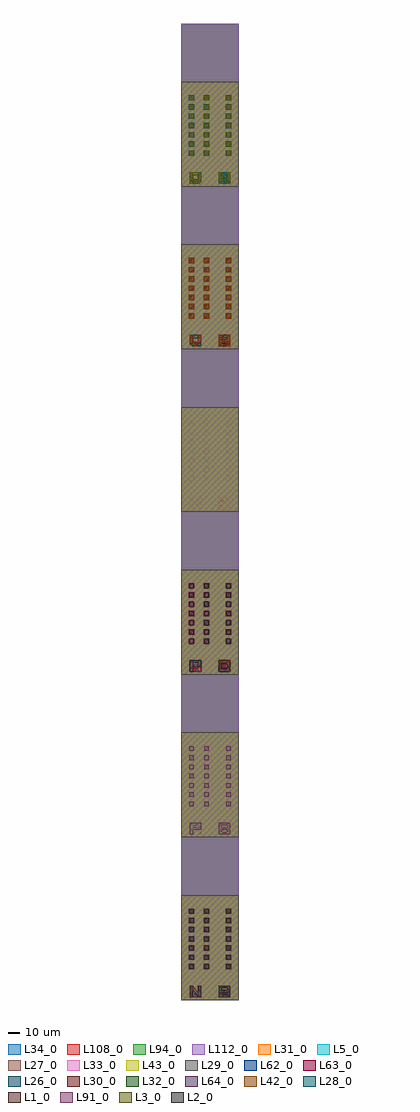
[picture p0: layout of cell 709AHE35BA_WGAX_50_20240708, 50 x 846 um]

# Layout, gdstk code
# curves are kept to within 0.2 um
import gdstk
lib = gdstk.Library(unit=1e-6, precision=1e-09)
def R(c, l, rs):  # rectangles x0, y0, x1, y1
    for r in rs: c.add(gdstk.rectangle(r[:2], r[2:], *l))
def A(c, l, x, y, w, h, nx, ny, dx, dy):  # array of equal rectangles
    R(c, l, [(x+i*dx, y+j*dy, x+i*dx+w, y+j*dy+h) for i in range(nx) for j in range(ny)])
def P(c, l, *ps):  # polygons
    for p in ps: c.add(gdstk.Polygon(p, *l))
L1_0 = (1, 0)
L2_0 = (2, 0)
L3_0 = (3, 0)
L5_0 = (5, 0)
L26_0 = (26, 0)
L27_0 = (27, 0)
L28_0 = (28, 0)
L29_0 = (29, 0)
L30_0 = (30, 0)
L31_0 = (31, 0)
L32_0 = (32, 0)
L33_0 = (33, 0)
L34_0 = (34, 0)
L42_0 = (42, 0)
L43_0 = (43, 0)
L62_0 = (62, 0)
L63_0 = (63, 0)
L64_0 = (64, 0)
L91_0 = (91, 0)
L94_0 = (94, 0)
L108_0 = (108, 0)
L112_0 = (112, 0)

wga_x_50_76_4_0_4_0_t_1_ = lib.new_cell('WGA_X_50_76_4_0_4_0_T_1_T')
A(wga_x_50_76_4_0_4_0_t_1_, L1_0, 7, 27, 4, 4, 1, 7, 0, 8)
A(wga_x_50_76_4_0_4_0_t_1_, L1_0, 20, 27, 4, 4, 1, 7, 0, 8)
A(wga_x_50_76_4_0_4_0_t_1_, L1_0, 39, 27, 4, 4, 1, 7, 0, 8)
R(wga_x_50_76_4_0_4_0_t_1_, L5_0, [(0,15,50,91)])
R(wga_x_50_76_4_0_4_0_t_1_, L27_0, [(0,15,50,91)])
R(wga_x_50_76_4_0_4_0_t_1_, L29_0, [(0,15,50,91)])
R(wga_x_50_76_4_0_4_0_t_1_, L31_0, [(0,15,50,91)])
R(wga_x_50_76_4_0_4_0_t_1_, L33_0, [(0,15,50,91)])
R(wga_x_50_76_4_0_4_0_t_1_, L34_0, [(0,15,50,141)])
R(wga_x_50_76_4_0_4_0_t_1_, L43_0, [(0,15,50,91)])
R(wga_x_50_76_4_0_4_0_t_1_, L94_0, [(0,15,50,141)])
R(wga_x_50_76_4_0_4_0_t_1_, L108_0, [(0,15,50,141)])
R(wga_x_50_76_4_0_4_0_t_1_, L112_0, [(0,15,50,141)])

c_wga_x_50_76_4_0_4_0_t_1_ = lib.new_cell('WGA_X_50_76_4_0_4_0_T_1_name')
P(c_wga_x_50_76_4_0_4_0_t_1_, L1_0, [(10,8.5),(15,2.5),(17.5,2.5),(17.5,12.5),(15,12.5),(15,6.5),(10,12.5),(7.5,12.5),(7.5,2.5),(10,2.5)],
  [(41.5,2.5),(42.5,3.5),(42.5,6.5),(41.5,7.5),(42.5,8.5),(42.5,11.5),(41.5,12.5),(32.5,12.5),(32.5,8.5),(35,8.5),(35,10.5),(40,10.5),(40,8.5),(32.5,8.5),(32.5,4.5),(35,4.5),(35,6.5),(40,6.5),(40,4.5),(32.5,4.5),(32.5,2.5)])
R(c_wga_x_50_76_4_0_4_0_t_1_, L5_0, [(0,0,50,15)])
R(c_wga_x_50_76_4_0_4_0_t_1_, L27_0, [(0,0,50,15)])
R(c_wga_x_50_76_4_0_4_0_t_1_, L29_0, [(0,0,50,15)])
R(c_wga_x_50_76_4_0_4_0_t_1_, L31_0, [(0,0,50,15)])
R(c_wga_x_50_76_4_0_4_0_t_1_, L33_0, [(0,0,50,15)])
R(c_wga_x_50_76_4_0_4_0_t_1_, L34_0, [(0,0,50,15)])
R(c_wga_x_50_76_4_0_4_0_t_1_, L43_0, [(0,0,50,15)])
R(c_wga_x_50_76_4_0_4_0_t_1_, L94_0, [(0,0,50,15)])
R(c_wga_x_50_76_4_0_4_0_t_1_, L108_0, [(0,0,50,15)])
R(c_wga_x_50_76_4_0_4_0_t_1_, L112_0, [(0,0,50,15)])

wga_x_50_76_4_6_4_6_t_62 = lib.new_cell('WGA_X_50_76_4_6_4_6_T_62_T')
R(wga_x_50_76_4_6_4_6_t_62, L5_0, [(0,15,50,91)])
R(wga_x_50_76_4_6_4_6_t_62, L27_0, [(0,15,50,91)])
R(wga_x_50_76_4_6_4_6_t_62, L29_0, [(0,15,50,91)])
R(wga_x_50_76_4_6_4_6_t_62, L31_0, [(0,15,50,91)])
R(wga_x_50_76_4_6_4_6_t_62, L33_0, [(0,15,50,91)])
R(wga_x_50_76_4_6_4_6_t_62, L34_0, [(0,15,50,141)])
R(wga_x_50_76_4_6_4_6_t_62, L43_0, [(0,15,50,91)])
A(wga_x_50_76_4_6_4_6_t_62, L62_0, 6.7, 26.7, 4.6, 4.6, 1, 7, 0, 8)
A(wga_x_50_76_4_6_4_6_t_62, L62_0, 19.7, 26.7, 4.6, 4.6, 1, 7, 0, 8)
A(wga_x_50_76_4_6_4_6_t_62, L62_0, 38.7, 26.7, 4.6, 4.6, 1, 7, 0, 8)
R(wga_x_50_76_4_6_4_6_t_62, L94_0, [(0,15,50,141)])
R(wga_x_50_76_4_6_4_6_t_62, L108_0, [(0,15,50,141)])
R(wga_x_50_76_4_6_4_6_t_62, L112_0, [(0,15,50,141)])

c_wga_x_50_76_4_6_4_6_t_62 = lib.new_cell('WGA_X_50_76_4_6_4_6_T_62_name')
R(c_wga_x_50_76_4_6_4_6_t_62, L5_0, [(0,0,50,15)])
R(c_wga_x_50_76_4_6_4_6_t_62, L27_0, [(0,0,50,15)])
R(c_wga_x_50_76_4_6_4_6_t_62, L29_0, [(0,0,50,15)])
R(c_wga_x_50_76_4_6_4_6_t_62, L31_0, [(0,0,50,15)])
R(c_wga_x_50_76_4_6_4_6_t_62, L33_0, [(0,0,50,15)])
R(c_wga_x_50_76_4_6_4_6_t_62, L34_0, [(0,0,50,15)])
R(c_wga_x_50_76_4_6_4_6_t_62, L43_0, [(0,0,50,15)])
P(c_wga_x_50_76_4_6_4_6_t_62, L62_0, [(17.5,12.5),(14.5,12.5),(14.5,5.5),(10.5,5.5),(10.5,12.5),(7.5,12.5),(7.5,2.5),(17.5,2.5)],
  [(42.5,5),(35.5,5),(35.5,6.3),(42.5,6.3),(42.5,12.5),(32.5,12.5),(32.5,10),(39.5,10),(39.5,8.8),(32.5,8.8),(32.5,2.5),(42.5,2.5)])
R(c_wga_x_50_76_4_6_4_6_t_62, L94_0, [(0,0,50,15)])
R(c_wga_x_50_76_4_6_4_6_t_62, L108_0, [(0,0,50,15)])
R(c_wga_x_50_76_4_6_4_6_t_62, L112_0, [(0,0,50,15)])

wga_x_50_76_4_6_4_6_t_64 = lib.new_cell('WGA_X_50_76_4_6_4_6_T_64_T')
R(wga_x_50_76_4_6_4_6_t_64, L5_0, [(0,15,50,91)])
R(wga_x_50_76_4_6_4_6_t_64, L27_0, [(0,15,50,91)])
R(wga_x_50_76_4_6_4_6_t_64, L29_0, [(0,15,50,91)])
R(wga_x_50_76_4_6_4_6_t_64, L31_0, [(0,15,50,91)])
R(wga_x_50_76_4_6_4_6_t_64, L33_0, [(0,15,50,91)])
R(wga_x_50_76_4_6_4_6_t_64, L34_0, [(0,15,50,141)])
R(wga_x_50_76_4_6_4_6_t_64, L43_0, [(0,15,50,91)])
A(wga_x_50_76_4_6_4_6_t_64, L64_0, 6.7, 26.7, 4.6, 4.6, 1, 7, 0, 8)
A(wga_x_50_76_4_6_4_6_t_64, L64_0, 19.7, 26.7, 4.6, 4.6, 1, 7, 0, 8)
A(wga_x_50_76_4_6_4_6_t_64, L64_0, 38.7, 26.7, 4.6, 4.6, 1, 7, 0, 8)
R(wga_x_50_76_4_6_4_6_t_64, L94_0, [(0,15,50,141)])
R(wga_x_50_76_4_6_4_6_t_64, L108_0, [(0,15,50,141)])
R(wga_x_50_76_4_6_4_6_t_64, L112_0, [(0,15,50,141)])

c_wga_x_50_76_4_6_4_6_t_64 = lib.new_cell('WGA_X_50_76_4_6_4_6_T_64_name')
R(c_wga_x_50_76_4_6_4_6_t_64, L5_0, [(0,0,50,15)])
R(c_wga_x_50_76_4_6_4_6_t_64, L27_0, [(0,0,50,15)])
R(c_wga_x_50_76_4_6_4_6_t_64, L29_0, [(0,0,50,15)])
R(c_wga_x_50_76_4_6_4_6_t_64, L31_0, [(0,0,50,15)])
R(c_wga_x_50_76_4_6_4_6_t_64, L33_0, [(0,0,50,15)])
R(c_wga_x_50_76_4_6_4_6_t_64, L34_0, [(0,0,50,15)])
R(c_wga_x_50_76_4_6_4_6_t_64, L43_0, [(0,0,50,15)])
P(c_wga_x_50_76_4_6_4_6_t_64, L64_0, [(17.5,12.5),(14.5,12.5),(14.5,5.5),(10.5,5.5),(10.5,12.5),(7.5,12.5),(7.5,2.5),(17.5,2.5)],
  [(42.5,12.5),(39.5,12.5),(39.5,8.5),(35.5,8.5),(35.5,12.5),(32.5,12.5),(32.5,5.5),(39.5,5.5),(39.5,2.5),(42.5,2.5)])
R(c_wga_x_50_76_4_6_4_6_t_64, L94_0, [(0,0,50,15)])
R(c_wga_x_50_76_4_6_4_6_t_64, L108_0, [(0,0,50,15)])
R(c_wga_x_50_76_4_6_4_6_t_64, L112_0, [(0,0,50,15)])

wga_x_50_76_4_0_4_0_t_91 = lib.new_cell('WGA_X_50_76_4_0_4_0_T_91_T')
R(wga_x_50_76_4_0_4_0_t_91, L5_0, [(0,15,50,91)])
R(wga_x_50_76_4_0_4_0_t_91, L29_0, [(0,15,50,91)])
R(wga_x_50_76_4_0_4_0_t_91, L31_0, [(0,15,50,91)])
R(wga_x_50_76_4_0_4_0_t_91, L34_0, [(0,15,50,141)])
R(wga_x_50_76_4_0_4_0_t_91, L43_0, [(0,15,50,91)])
A(wga_x_50_76_4_0_4_0_t_91, L91_0, 7, 27, 4, 4, 1, 7, 0, 8)
A(wga_x_50_76_4_0_4_0_t_91, L91_0, 20, 27, 4, 4, 1, 7, 0, 8)
A(wga_x_50_76_4_0_4_0_t_91, L91_0, 39, 27, 4, 4, 1, 7, 0, 8)
R(wga_x_50_76_4_0_4_0_t_91, L94_0, [(0,15,50,141)])
R(wga_x_50_76_4_0_4_0_t_91, L108_0, [(0,15,50,141)])
R(wga_x_50_76_4_0_4_0_t_91, L112_0, [(0,15,50,141)])

c_wga_x_50_76_4_0_4_0_t_91 = lib.new_cell('WGA_X_50_76_4_0_4_0_T_91_name')
R(c_wga_x_50_76_4_0_4_0_t_91, L5_0, [(0,0,50,15)])
R(c_wga_x_50_76_4_0_4_0_t_91, L29_0, [(0,0,50,15)])
R(c_wga_x_50_76_4_0_4_0_t_91, L31_0, [(0,0,50,15)])
R(c_wga_x_50_76_4_0_4_0_t_91, L34_0, [(0,0,50,15)])
R(c_wga_x_50_76_4_0_4_0_t_91, L43_0, [(0,0,50,15)])
P(c_wga_x_50_76_4_0_4_0_t_91, L91_0, [(10.5,2.5),(10.5,6.5),(17.5,6.5),(17.5,12.5),(7.5,12.5),(7.5,9),(10.5,9),(10.5,10),(15,10),(15,9),(10.5,9),(7.5,9),(7.5,2.5)],
  [(41.5,2.5),(42.5,3.5),(42.5,6.5),(41.5,7.5),(42.5,8.5),(42.5,11.5),(41.5,12.5),(32.5,12.5),(32.5,8.5),(35,8.5),(35,10.5),(40,10.5),(40,8.5),(32.5,8.5),(32.5,4.5),(35,4.5),(35,6.5),(40,6.5),(40,4.5),(32.5,4.5),(32.5,2.5)])
R(c_wga_x_50_76_4_0_4_0_t_91, L94_0, [(0,0,50,15)])
R(c_wga_x_50_76_4_0_4_0_t_91, L108_0, [(0,0,50,15)])
R(c_wga_x_50_76_4_0_4_0_t_91, L112_0, [(0,0,50,15)])

wga_x_50_76_4_0_4_0_m_27 = lib.new_cell('WGA_X_50_76_4_0_4_0_M_27_M')
R(wga_x_50_76_4_0_4_0_m_27, L5_0, [(0,15,50,91)])
P(wga_x_50_76_4_0_4_0_m_27, L27_0, [(50,91),(0,91),(0,75),(7,75),(7,79),(11,79),(11,75),(20,75),(20,79),(24,79),(24,75),(39,75),(39,79),(43,79),(43,75),(39,75),(24,75),(20,75),(11,75),(7,75),(0,75),(0,67),(7,67),(7,71),(11,71),(11,67),(20,67),(20,71),(24,71),(24,67),(39,67),(39,71),(43,71),(43,67),(39,67),(24,67),(20,67),(11,67),(7,67),(0,67),(0,59),(7,59),(7,63),(11,63),(11,59),(20,59),(20,63),(24,63),(24,59),(39,59),(39,63),(43,63),(43,59),(39,59),(24,59),(20,59),(11,59),(7,59),(0,59),(0,51),(7,51),(7,55),(11,55),(11,51),(20,51),(20,55),(24,55),(24,51),(39,51),(39,55),(43,55),(43,51),(39,51),(24,51),(20,51),(11,51),(7,51),(0,51),(0,43),(7,43),(7,47),(11,47),(11,43),(20,43),(20,47),(24,47),(24,43),(39,43),(39,47),(43,47),(43,43),(39,43),(24,43),(20,43),(11,43),(7,43),(0,43),(0,35),(7,35),(7,39),(11,39),(11,35),(20,35),(20,39),(24,39),(24,35),(39,35),(39,39),(43,39),(43,35),(39,35),(24,35),(20,35),(11,35),(7,35),(0,35),(0,27),(7,27),(7,31),(11,31),(11,27),(20,27),(20,31),(24,31),(24,27),(39,27),(39,31),(43,31),(43,27),(39,27),(24,27),(20,27),(11,27),(7,27),(0,27),(0,15),(50,15)])
R(wga_x_50_76_4_0_4_0_m_27, L29_0, [(0,15,50,91)])
R(wga_x_50_76_4_0_4_0_m_27, L31_0, [(0,15,50,91)])
R(wga_x_50_76_4_0_4_0_m_27, L34_0, [(0,15,50,141)])
R(wga_x_50_76_4_0_4_0_m_27, L43_0, [(0,15,50,91)])
R(wga_x_50_76_4_0_4_0_m_27, L94_0, [(0,15,50,141)])
R(wga_x_50_76_4_0_4_0_m_27, L108_0, [(0,15,50,141)])
R(wga_x_50_76_4_0_4_0_m_27, L112_0, [(0,15,50,141)])

c_wga_x_50_76_4_0_4_0_m_27 = lib.new_cell('WGA_X_50_76_4_0_4_0_M_27_name')
R(c_wga_x_50_76_4_0_4_0_m_27, L5_0, [(0,0,50,15)])
P(c_wga_x_50_76_4_0_4_0_m_27, L27_0, [(50,15),(0,15),(0,2.5),(7.5,2.5),(7.5,12.5),(10,12.5),(12.5,10),(15,12.5),(17.5,12.5),(17.5,2.5),(33.5,2.5),(33.5,5),(36.5,5),(36.5,9.5),(34.5,9.5),(34.5,11.5),(36.5,11.5),(36.5,12.5),(39.5,12.5),(39.5,5),(41.5,5),(41.5,2.5),(15,2.5),(15,9),(12.5,6.5),(10,9),(10,2.5),(0,2.5),(0,0),(50,0)])
R(c_wga_x_50_76_4_0_4_0_m_27, L29_0, [(0,0,50,15)])
R(c_wga_x_50_76_4_0_4_0_m_27, L31_0, [(0,0,50,15)])
R(c_wga_x_50_76_4_0_4_0_m_27, L34_0, [(0,0,50,15)])
R(c_wga_x_50_76_4_0_4_0_m_27, L43_0, [(0,0,50,15)])
R(c_wga_x_50_76_4_0_4_0_m_27, L94_0, [(0,0,50,15)])
R(c_wga_x_50_76_4_0_4_0_m_27, L108_0, [(0,0,50,15)])
R(c_wga_x_50_76_4_0_4_0_m_27, L112_0, [(0,0,50,15)])

wga_x_50_76_4_0_4_0_m_33 = lib.new_cell('WGA_X_50_76_4_0_4_0_M_33_M')
R(wga_x_50_76_4_0_4_0_m_33, L5_0, [(0,15,50,91)])
R(wga_x_50_76_4_0_4_0_m_33, L29_0, [(0,15,50,91)])
R(wga_x_50_76_4_0_4_0_m_33, L31_0, [(0,15,50,91)])
P(wga_x_50_76_4_0_4_0_m_33, L33_0, [(50,91),(0,91),(0,75),(7,75),(7,79),(11,79),(11,75),(20,75),(20,79),(24,79),(24,75),(39,75),(39,79),(43,79),(43,75),(39,75),(24,75),(20,75),(11,75),(7,75),(0,75),(0,67),(7,67),(7,71),(11,71),(11,67),(20,67),(20,71),(24,71),(24,67),(39,67),(39,71),(43,71),(43,67),(39,67),(24,67),(20,67),(11,67),(7,67),(0,67),(0,59),(7,59),(7,63),(11,63),(11,59),(20,59),(20,63),(24,63),(24,59),(39,59),(39,63),(43,63),(43,59),(39,59),(24,59),(20,59),(11,59),(7,59),(0,59),(0,51),(7,51),(7,55),(11,55),(11,51),(20,51),(20,55),(24,55),(24,51),(39,51),(39,55),(43,55),(43,51),(39,51),(24,51),(20,51),(11,51),(7,51),(0,51),(0,43),(7,43),(7,47),(11,47),(11,43),(20,43),(20,47),(24,47),(24,43),(39,43),(39,47),(43,47),(43,43),(39,43),(24,43),(20,43),(11,43),(7,43),(0,43),(0,35),(7,35),(7,39),(11,39),(11,35),(20,35),(20,39),(24,39),(24,35),(39,35),(39,39),(43,39),(43,35),(39,35),(24,35),(20,35),(11,35),(7,35),(0,35),(0,27),(7,27),(7,31),(11,31),(11,27),(20,27),(20,31),(24,31),(24,27),(39,27),(39,31),(43,31),(43,27),(39,27),(24,27),(20,27),(11,27),(7,27),(0,27),(0,15),(50,15)])
R(wga_x_50_76_4_0_4_0_m_33, L34_0, [(0,15,50,141)])
R(wga_x_50_76_4_0_4_0_m_33, L43_0, [(0,15,50,91)])
R(wga_x_50_76_4_0_4_0_m_33, L94_0, [(0,15,50,141)])
R(wga_x_50_76_4_0_4_0_m_33, L108_0, [(0,15,50,141)])
R(wga_x_50_76_4_0_4_0_m_33, L112_0, [(0,15,50,141)])

c_wga_x_50_76_4_0_4_0_m_33 = lib.new_cell('WGA_X_50_76_4_0_4_0_M_33_name')
R(c_wga_x_50_76_4_0_4_0_m_33, L5_0, [(0,0,50,15)])
R(c_wga_x_50_76_4_0_4_0_m_33, L29_0, [(0,0,50,15)])
R(c_wga_x_50_76_4_0_4_0_m_33, L31_0, [(0,0,50,15)])
P(c_wga_x_50_76_4_0_4_0_m_33, L33_0, [(50,15),(0,15),(0,2.5),(7.5,2.5),(7.5,12.5),(10,12.5),(12.5,10),(15,12.5),(17.5,12.5),(17.5,5.5),(32.5,5.5),(32.5,12.5),(35.5,12.5),(35.5,8.5),(39.5,8.5),(39.5,12.5),(42.5,12.5),(42.5,2.5),(39.5,2.5),(39.5,5.5),(17.5,5.5),(17.5,2.5),(15,2.5),(15,9),(12.5,6.5),(10,9),(10,2.5),(0,2.5),(0,0),(50,0)])
R(c_wga_x_50_76_4_0_4_0_m_33, L34_0, [(0,0,50,15)])
R(c_wga_x_50_76_4_0_4_0_m_33, L43_0, [(0,0,50,15)])
R(c_wga_x_50_76_4_0_4_0_m_33, L94_0, [(0,0,50,15)])
R(c_wga_x_50_76_4_0_4_0_m_33, L108_0, [(0,0,50,15)])
R(c_wga_x_50_76_4_0_4_0_m_33, L112_0, [(0,0,50,15)])

wga_x_50_76_4_0_4_0_t_2_ = lib.new_cell('WGA_X_50_76_4_0_4_0_T_2_T')
A(wga_x_50_76_4_0_4_0_t_2_, L2_0, 7, 27, 4, 4, 1, 7, 0, 8)
A(wga_x_50_76_4_0_4_0_t_2_, L2_0, 20, 27, 4, 4, 1, 7, 0, 8)
A(wga_x_50_76_4_0_4_0_t_2_, L2_0, 39, 27, 4, 4, 1, 7, 0, 8)
R(wga_x_50_76_4_0_4_0_t_2_, L5_0, [(0,15,50,91)])
R(wga_x_50_76_4_0_4_0_t_2_, L27_0, [(0,15,50,91)])
R(wga_x_50_76_4_0_4_0_t_2_, L31_0, [(0,15,50,91)])
R(wga_x_50_76_4_0_4_0_t_2_, L33_0, [(0,15,50,91)])
R(wga_x_50_76_4_0_4_0_t_2_, L34_0, [(0,15,50,141)])
R(wga_x_50_76_4_0_4_0_t_2_, L94_0, [(0,15,50,141)])
R(wga_x_50_76_4_0_4_0_t_2_, L108_0, [(0,15,50,141)])
R(wga_x_50_76_4_0_4_0_t_2_, L112_0, [(0,15,50,141)])

c_wga_x_50_76_4_0_4_0_t_2_ = lib.new_cell('WGA_X_50_76_4_0_4_0_T_2_name')
P(c_wga_x_50_76_4_0_4_0_t_2_, L2_0, [(10.5,2.5),(10.5,6.5),(17.5,6.5),(17.5,12.5),(7.5,12.5),(7.5,9),(10.5,9),(10.5,10),(15,10),(15,9),(10.5,9),(7.5,9),(7.5,2.5)],
  [(40.5,2.5),(42.5,4.5),(42.5,10.5),(40.5,12.5),(32.5,12.5),(32.5,5),(35,5),(35,10),(39,10),(40,9),(40,6),(39,5),(32.5,5),(32.5,2.5)])
R(c_wga_x_50_76_4_0_4_0_t_2_, L5_0, [(0,0,50,15)])
R(c_wga_x_50_76_4_0_4_0_t_2_, L27_0, [(0,0,50,15)])
R(c_wga_x_50_76_4_0_4_0_t_2_, L31_0, [(0,0,50,15)])
R(c_wga_x_50_76_4_0_4_0_t_2_, L33_0, [(0,0,50,15)])
R(c_wga_x_50_76_4_0_4_0_t_2_, L34_0, [(0,0,50,15)])
R(c_wga_x_50_76_4_0_4_0_t_2_, L94_0, [(0,0,50,15)])
R(c_wga_x_50_76_4_0_4_0_t_2_, L108_0, [(0,0,50,15)])
R(c_wga_x_50_76_4_0_4_0_t_2_, L112_0, [(0,0,50,15)])

wga_x_50_76_4_0_4_0_m_29 = lib.new_cell('WGA_X_50_76_4_0_4_0_M_29_M')
R(wga_x_50_76_4_0_4_0_m_29, L5_0, [(0,15,50,91)])
R(wga_x_50_76_4_0_4_0_m_29, L27_0, [(0,15,50,91)])
P(wga_x_50_76_4_0_4_0_m_29, L29_0, [(50,91),(0,91),(0,75),(7,75),(7,79),(11,79),(11,75),(20,75),(20,79),(24,79),(24,75),(39,75),(39,79),(43,79),(43,75),(39,75),(24,75),(20,75),(11,75),(7,75),(0,75),(0,67),(7,67),(7,71),(11,71),(11,67),(20,67),(20,71),(24,71),(24,67),(39,67),(39,71),(43,71),(43,67),(39,67),(24,67),(20,67),(11,67),(7,67),(0,67),(0,59),(7,59),(7,63),(11,63),(11,59),(20,59),(20,63),(24,63),(24,59),(39,59),(39,63),(43,63),(43,59),(39,59),(24,59),(20,59),(11,59),(7,59),(0,59),(0,51),(7,51),(7,55),(11,55),(11,51),(20,51),(20,55),(24,55),(24,51),(39,51),(39,55),(43,55),(43,51),(39,51),(24,51),(20,51),(11,51),(7,51),(0,51),(0,43),(7,43),(7,47),(11,47),(11,43),(20,43),(20,47),(24,47),(24,43),(39,43),(39,47),(43,47),(43,43),(39,43),(24,43),(20,43),(11,43),(7,43),(0,43),(0,35),(7,35),(7,39),(11,39),(11,35),(20,35),(20,39),(24,39),(24,35),(39,35),(39,39),(43,39),(43,35),(39,35),(24,35),(20,35),(11,35),(7,35),(0,35),(0,27),(7,27),(7,31),(11,31),(11,27),(20,27),(20,31),(24,31),(24,27),(39,27),(39,31),(43,31),(43,27),(39,27),(24,27),(20,27),(11,27),(7,27),(0,27),(0,15),(50,15)])
R(wga_x_50_76_4_0_4_0_m_29, L31_0, [(0,15,50,91)])
R(wga_x_50_76_4_0_4_0_m_29, L33_0, [(0,15,50,91)])
R(wga_x_50_76_4_0_4_0_m_29, L34_0, [(0,15,50,141)])
R(wga_x_50_76_4_0_4_0_m_29, L94_0, [(0,15,50,141)])
R(wga_x_50_76_4_0_4_0_m_29, L108_0, [(0,15,50,141)])
R(wga_x_50_76_4_0_4_0_m_29, L112_0, [(0,15,50,141)])

c_wga_x_50_76_4_0_4_0_m_29 = lib.new_cell('WGA_X_50_76_4_0_4_0_M_29_name')
R(c_wga_x_50_76_4_0_4_0_m_29, L5_0, [(0,0,50,15)])
R(c_wga_x_50_76_4_0_4_0_m_29, L27_0, [(0,0,50,15)])
P(c_wga_x_50_76_4_0_4_0_m_29, L29_0, [(50,15),(0,15),(0,2.5),(7.5,2.5),(7.5,12.5),(10,12.5),(12.5,10),(15,12.5),(17.5,12.5),(17.5,2.5),(32.5,2.5),(32.5,8.8),(39.5,8.8),(39.5,10),(32.5,10),(32.5,12.5),(42.5,12.5),(42.5,6.3),(35.5,6.3),(35.5,5),(42.5,5),(42.5,2.5),(15,2.5),(15,9),(12.5,6.5),(10,9),(10,2.5),(0,2.5),(0,0),(50,0)])
R(c_wga_x_50_76_4_0_4_0_m_29, L31_0, [(0,0,50,15)])
R(c_wga_x_50_76_4_0_4_0_m_29, L33_0, [(0,0,50,15)])
R(c_wga_x_50_76_4_0_4_0_m_29, L34_0, [(0,0,50,15)])
R(c_wga_x_50_76_4_0_4_0_m_29, L94_0, [(0,0,50,15)])
R(c_wga_x_50_76_4_0_4_0_m_29, L108_0, [(0,0,50,15)])
R(c_wga_x_50_76_4_0_4_0_m_29, L112_0, [(0,0,50,15)])

wga_x_50_76_4_6_4_6_t_63 = lib.new_cell('WGA_X_50_76_4_6_4_6_T_63_T')
R(wga_x_50_76_4_6_4_6_t_63, L5_0, [(0,15,50,91)])
R(wga_x_50_76_4_6_4_6_t_63, L27_0, [(0,15,50,91)])
R(wga_x_50_76_4_6_4_6_t_63, L31_0, [(0,15,50,91)])
R(wga_x_50_76_4_6_4_6_t_63, L33_0, [(0,15,50,91)])
R(wga_x_50_76_4_6_4_6_t_63, L34_0, [(0,15,50,141)])
A(wga_x_50_76_4_6_4_6_t_63, L63_0, 6.7, 26.7, 4.6, 4.6, 1, 7, 0, 8)
A(wga_x_50_76_4_6_4_6_t_63, L63_0, 19.7, 26.7, 4.6, 4.6, 1, 7, 0, 8)
A(wga_x_50_76_4_6_4_6_t_63, L63_0, 38.7, 26.7, 4.6, 4.6, 1, 7, 0, 8)
R(wga_x_50_76_4_6_4_6_t_63, L94_0, [(0,15,50,141)])
R(wga_x_50_76_4_6_4_6_t_63, L108_0, [(0,15,50,141)])
R(wga_x_50_76_4_6_4_6_t_63, L112_0, [(0,15,50,141)])

c_wga_x_50_76_4_6_4_6_t_63 = lib.new_cell('WGA_X_50_76_4_6_4_6_T_63_name')
R(c_wga_x_50_76_4_6_4_6_t_63, L5_0, [(0,0,50,15)])
R(c_wga_x_50_76_4_6_4_6_t_63, L27_0, [(0,0,50,15)])
R(c_wga_x_50_76_4_6_4_6_t_63, L31_0, [(0,0,50,15)])
R(c_wga_x_50_76_4_6_4_6_t_63, L33_0, [(0,0,50,15)])
R(c_wga_x_50_76_4_6_4_6_t_63, L34_0, [(0,0,50,15)])
P(c_wga_x_50_76_4_6_4_6_t_63, L63_0, [(17.5,12.5),(14.5,12.5),(14.5,5.5),(10.5,5.5),(10.5,12.5),(7.5,12.5),(7.5,2.5),(17.5,2.5)],
  [(42.5,12.5),(32.5,12.5),(32.5,10),(39.5,10),(39.5,8.8),(32.5,8.8),(32.5,6.3),(39.5,6.3),(39.5,5),(32.5,5),(32.5,2.5),(42.5,2.5)])
R(c_wga_x_50_76_4_6_4_6_t_63, L94_0, [(0,0,50,15)])
R(c_wga_x_50_76_4_6_4_6_t_63, L108_0, [(0,0,50,15)])
R(c_wga_x_50_76_4_6_4_6_t_63, L112_0, [(0,0,50,15)])

wga_x_50_76_4_0_4_0_m_43 = lib.new_cell('WGA_X_50_76_4_0_4_0_M_43_M')
R(wga_x_50_76_4_0_4_0_m_43, L5_0, [(0,15,50,91)])
R(wga_x_50_76_4_0_4_0_m_43, L27_0, [(0,15,50,91)])
R(wga_x_50_76_4_0_4_0_m_43, L31_0, [(0,15,50,91)])
R(wga_x_50_76_4_0_4_0_m_43, L33_0, [(0,15,50,91)])
R(wga_x_50_76_4_0_4_0_m_43, L34_0, [(0,15,50,141)])
P(wga_x_50_76_4_0_4_0_m_43, L43_0, [(50,91),(0,91),(0,75),(7,75),(7,79),(11,79),(11,75),(20,75),(20,79),(24,79),(24,75),(39,75),(39,79),(43,79),(43,75),(39,75),(24,75),(20,75),(11,75),(7,75),(0,75),(0,67),(7,67),(7,71),(11,71),(11,67),(20,67),(20,71),(24,71),(24,67),(39,67),(39,71),(43,71),(43,67),(39,67),(24,67),(20,67),(11,67),(7,67),(0,67),(0,59),(7,59),(7,63),(11,63),(11,59),(20,59),(20,63),(24,63),(24,59),(39,59),(39,63),(43,63),(43,59),(39,59),(24,59),(20,59),(11,59),(7,59),(0,59),(0,51),(7,51),(7,55),(11,55),(11,51),(20,51),(20,55),(24,55),(24,51),(39,51),(39,55),(43,55),(43,51),(39,51),(24,51),(20,51),(11,51),(7,51),(0,51),(0,43),(7,43),(7,47),(11,47),(11,43),(20,43),(20,47),(24,47),(24,43),(39,43),(39,47),(43,47),(43,43),(39,43),(24,43),(20,43),(11,43),(7,43),(0,43),(0,35),(7,35),(7,39),(11,39),(11,35),(20,35),(20,39),(24,39),(24,35),(39,35),(39,39),(43,39),(43,35),(39,35),(24,35),(20,35),(11,35),(7,35),(0,35),(0,27),(7,27),(7,31),(11,31),(11,27),(20,27),(20,31),(24,31),(24,27),(39,27),(39,31),(43,31),(43,27),(39,27),(24,27),(20,27),(11,27),(7,27),(0,27),(0,15),(50,15)])
R(wga_x_50_76_4_0_4_0_m_43, L94_0, [(0,15,50,141)])
R(wga_x_50_76_4_0_4_0_m_43, L108_0, [(0,15,50,141)])
R(wga_x_50_76_4_0_4_0_m_43, L112_0, [(0,15,50,141)])

c_wga_x_50_76_4_0_4_0_m_43 = lib.new_cell('WGA_X_50_76_4_0_4_0_M_43_name')
R(c_wga_x_50_76_4_0_4_0_m_43, L5_0, [(0,0,50,15)])
R(c_wga_x_50_76_4_0_4_0_m_43, L27_0, [(0,0,50,15)])
R(c_wga_x_50_76_4_0_4_0_m_43, L31_0, [(0,0,50,15)])
R(c_wga_x_50_76_4_0_4_0_m_43, L33_0, [(0,0,50,15)])
R(c_wga_x_50_76_4_0_4_0_m_43, L34_0, [(0,0,50,15)])
P(c_wga_x_50_76_4_0_4_0_m_43, L43_0, [(50,15),(0,15),(0,2.5),(7.5,2.5),(7.5,12.5),(10,12.5),(12.5,10),(15,12.5),(17.5,12.5),(17.5,2.5),(32.5,2.5),(32.5,4.8),(39.5,4.8),(39.5,6.2),(32.5,6.2),(32.5,12.5),(42.5,12.5),(42.5,10.2),(35.5,10.2),(35.5,8.8),(42.5,8.8),(42.5,2.5),(15,2.5),(15,9),(12.5,6.5),(10,9),(10,2.5),(0,2.5),(0,0),(50,0)])
R(c_wga_x_50_76_4_0_4_0_m_43, L94_0, [(0,0,50,15)])
R(c_wga_x_50_76_4_0_4_0_m_43, L108_0, [(0,0,50,15)])
R(c_wga_x_50_76_4_0_4_0_m_43, L112_0, [(0,0,50,15)])

wga_x_50_76_4_0_4_0_m_5_ = lib.new_cell('WGA_X_50_76_4_0_4_0_M_5_M')
P(wga_x_50_76_4_0_4_0_m_5_, L5_0, [(50,91),(0,91),(0,75),(7,75),(7,79),(11,79),(11,75),(20,75),(20,79),(24,79),(24,75),(39,75),(39,79),(43,79),(43,75),(39,75),(24,75),(20,75),(11,75),(7,75),(0,75),(0,67),(7,67),(7,71),(11,71),(11,67),(20,67),(20,71),(24,71),(24,67),(39,67),(39,71),(43,71),(43,67),(39,67),(24,67),(20,67),(11,67),(7,67),(0,67),(0,59),(7,59),(7,63),(11,63),(11,59),(20,59),(20,63),(24,63),(24,59),(39,59),(39,63),(43,63),(43,59),(39,59),(24,59),(20,59),(11,59),(7,59),(0,59),(0,51),(7,51),(7,55),(11,55),(11,51),(20,51),(20,55),(24,55),(24,51),(39,51),(39,55),(43,55),(43,51),(39,51),(24,51),(20,51),(11,51),(7,51),(0,51),(0,43),(7,43),(7,47),(11,47),(11,43),(20,43),(20,47),(24,47),(24,43),(39,43),(39,47),(43,47),(43,43),(39,43),(24,43),(20,43),(11,43),(7,43),(0,43),(0,35),(7,35),(7,39),(11,39),(11,35),(20,35),(20,39),(24,39),(24,35),(39,35),(39,39),(43,39),(43,35),(39,35),(24,35),(20,35),(11,35),(7,35),(0,35),(0,27),(7,27),(7,31),(11,31),(11,27),(20,27),(20,31),(24,31),(24,27),(39,27),(39,31),(43,31),(43,27),(39,27),(24,27),(20,27),(11,27),(7,27),(0,27),(0,15),(50,15)])
R(wga_x_50_76_4_0_4_0_m_5_, L27_0, [(0,15,50,91)])
R(wga_x_50_76_4_0_4_0_m_5_, L29_0, [(0,15,50,91)])
R(wga_x_50_76_4_0_4_0_m_5_, L33_0, [(0,15,50,91)])
R(wga_x_50_76_4_0_4_0_m_5_, L34_0, [(0,15,50,141)])
R(wga_x_50_76_4_0_4_0_m_5_, L43_0, [(0,15,50,91)])
R(wga_x_50_76_4_0_4_0_m_5_, L94_0, [(0,15,50,141)])
R(wga_x_50_76_4_0_4_0_m_5_, L108_0, [(0,15,50,141)])
R(wga_x_50_76_4_0_4_0_m_5_, L112_0, [(0,15,50,141)])

c_wga_x_50_76_4_0_4_0_m_5_ = lib.new_cell('WGA_X_50_76_4_0_4_0_M_5_name')
R(c_wga_x_50_76_4_0_4_0_m_5_, L5_0, [(35.5,5.5,39.5,9.5)])
P(c_wga_x_50_76_4_0_4_0_m_5_, L5_0, [(50,15),(0,15),(0,2.5),(7.5,2.5),(7.5,12.5),(10,12.5),(12.5,10),(15,12.5),(17.5,12.5),(17.5,2.5),(32.5,2.5),(32.5,12.5),(42.5,12.5),(42.5,2.5),(15,2.5),(15,9),(12.5,6.5),(10,9),(10,2.5),(0,2.5),(0,0),(50,0)])
R(c_wga_x_50_76_4_0_4_0_m_5_, L27_0, [(0,0,50,15)])
R(c_wga_x_50_76_4_0_4_0_m_5_, L29_0, [(0,0,50,15)])
R(c_wga_x_50_76_4_0_4_0_m_5_, L33_0, [(0,0,50,15)])
R(c_wga_x_50_76_4_0_4_0_m_5_, L34_0, [(0,0,50,15)])
R(c_wga_x_50_76_4_0_4_0_m_5_, L43_0, [(0,0,50,15)])
R(c_wga_x_50_76_4_0_4_0_m_5_, L94_0, [(0,0,50,15)])
R(c_wga_x_50_76_4_0_4_0_m_5_, L108_0, [(0,0,50,15)])
R(c_wga_x_50_76_4_0_4_0_m_5_, L112_0, [(0,0,50,15)])

wga_x_50_76_4_0_4_0_m_31 = lib.new_cell('WGA_X_50_76_4_0_4_0_M_31_M')
R(wga_x_50_76_4_0_4_0_m_31, L27_0, [(0,15,50,91)])
R(wga_x_50_76_4_0_4_0_m_31, L29_0, [(0,15,50,91)])
P(wga_x_50_76_4_0_4_0_m_31, L31_0, [(50,91),(0,91),(0,75),(7,75),(7,79),(11,79),(11,75),(20,75),(20,79),(24,79),(24,75),(39,75),(39,79),(43,79),(43,75),(39,75),(24,75),(20,75),(11,75),(7,75),(0,75),(0,67),(7,67),(7,71),(11,71),(11,67),(20,67),(20,71),(24,71),(24,67),(39,67),(39,71),(43,71),(43,67),(39,67),(24,67),(20,67),(11,67),(7,67),(0,67),(0,59),(7,59),(7,63),(11,63),(11,59),(20,59),(20,63),(24,63),(24,59),(39,59),(39,63),(43,63),(43,59),(39,59),(24,59),(20,59),(11,59),(7,59),(0,59),(0,51),(7,51),(7,55),(11,55),(11,51),(20,51),(20,55),(24,55),(24,51),(39,51),(39,55),(43,55),(43,51),(39,51),(24,51),(20,51),(11,51),(7,51),(0,51),(0,43),(7,43),(7,47),(11,47),(11,43),(20,43),(20,47),(24,47),(24,43),(39,43),(39,47),(43,47),(43,43),(39,43),(24,43),(20,43),(11,43),(7,43),(0,43),(0,35),(7,35),(7,39),(11,39),(11,35),(20,35),(20,39),(24,39),(24,35),(39,35),(39,39),(43,39),(43,35),(39,35),(24,35),(20,35),(11,35),(7,35),(0,35),(0,27),(7,27),(7,31),(11,31),(11,27),(20,27),(20,31),(24,31),(24,27),(39,27),(39,31),(43,31),(43,27),(39,27),(24,27),(20,27),(11,27),(7,27),(0,27),(0,15),(50,15)])
R(wga_x_50_76_4_0_4_0_m_31, L33_0, [(0,15,50,91)])
R(wga_x_50_76_4_0_4_0_m_31, L34_0, [(0,15,50,141)])
R(wga_x_50_76_4_0_4_0_m_31, L43_0, [(0,15,50,91)])
R(wga_x_50_76_4_0_4_0_m_31, L94_0, [(0,15,50,141)])
R(wga_x_50_76_4_0_4_0_m_31, L108_0, [(0,15,50,141)])
R(wga_x_50_76_4_0_4_0_m_31, L112_0, [(0,15,50,141)])

c_wga_x_50_76_4_0_4_0_m_31 = lib.new_cell('WGA_X_50_76_4_0_4_0_M_31_name')
R(c_wga_x_50_76_4_0_4_0_m_31, L27_0, [(0,0,50,15)])
R(c_wga_x_50_76_4_0_4_0_m_31, L29_0, [(0,0,50,15)])
P(c_wga_x_50_76_4_0_4_0_m_31, L31_0, [(50,15),(0,15),(0,2.5),(7.5,2.5),(7.5,12.5),(10,12.5),(12.5,10),(15,12.5),(17.5,12.5),(17.5,2.5),(32.5,2.5),(32.5,5),(39.5,5),(39.5,6.3),(32.5,6.3),(32.5,8.8),(39.5,8.8),(39.5,10),(32.5,10),(32.5,12.5),(42.5,12.5),(42.5,2.5),(15,2.5),(15,9),(12.5,6.5),(10,9),(10,2.5),(0,2.5),(0,0),(50,0)])
R(c_wga_x_50_76_4_0_4_0_m_31, L33_0, [(0,0,50,15)])
R(c_wga_x_50_76_4_0_4_0_m_31, L34_0, [(0,0,50,15)])
R(c_wga_x_50_76_4_0_4_0_m_31, L43_0, [(0,0,50,15)])
R(c_wga_x_50_76_4_0_4_0_m_31, L94_0, [(0,0,50,15)])
R(c_wga_x_50_76_4_0_4_0_m_31, L108_0, [(0,0,50,15)])
R(c_wga_x_50_76_4_0_4_0_m_31, L112_0, [(0,0,50,15)])

wga_x_50_76_4_6_4_6_t_26 = lib.new_cell('WGA_X_50_76_4_6_4_6_T_26_T')
R(wga_x_50_76_4_6_4_6_t_26, L5_0, [(0,15,50,91)])
A(wga_x_50_76_4_6_4_6_t_26, L26_0, 6.7, 26.7, 4.6, 4.6, 1, 7, 0, 8)
A(wga_x_50_76_4_6_4_6_t_26, L26_0, 19.7, 26.7, 4.6, 4.6, 1, 7, 0, 8)
A(wga_x_50_76_4_6_4_6_t_26, L26_0, 38.7, 26.7, 4.6, 4.6, 1, 7, 0, 8)
R(wga_x_50_76_4_6_4_6_t_26, L27_0, [(0,15,50,91)])
R(wga_x_50_76_4_6_4_6_t_26, L29_0, [(0,15,50,91)])
R(wga_x_50_76_4_6_4_6_t_26, L31_0, [(0,15,50,91)])
R(wga_x_50_76_4_6_4_6_t_26, L33_0, [(0,15,50,91)])
R(wga_x_50_76_4_6_4_6_t_26, L34_0, [(0,15,50,141)])
R(wga_x_50_76_4_6_4_6_t_26, L43_0, [(0,15,50,91)])
R(wga_x_50_76_4_6_4_6_t_26, L94_0, [(0,15,50,141)])
R(wga_x_50_76_4_6_4_6_t_26, L108_0, [(0,15,50,141)])
R(wga_x_50_76_4_6_4_6_t_26, L112_0, [(0,15,50,141)])

c_wga_x_50_76_4_6_4_6_t_26 = lib.new_cell('WGA_X_50_76_4_6_4_6_T_26_name')
R(c_wga_x_50_76_4_6_4_6_t_26, L5_0, [(0,0,50,15)])
P(c_wga_x_50_76_4_6_4_6_t_26, L26_0, [(17.5,3.5),(17.5,4.5),(16.5,5.5),(11.5,5.5),(10.5,6.5),(10.5,8.5),(11.5,9.5),(16.5,9.5),(17.5,10.5),(17.5,11.5),(16.5,12.5),(9.5,12.5),(7.5,10.5),(7.5,4.5),(9.5,2.5),(16.5,2.5)],
  [(42.5,2.5),(42.5,12.5),(32.5,12.5),(32.5,5.5),(35.5,5.5),(35.5,9.5),(39.5,9.5),(39.5,5.5),(35.5,5.5),(32.5,5.5),(32.5,2.5)])
R(c_wga_x_50_76_4_6_4_6_t_26, L27_0, [(0,0,50,15)])
R(c_wga_x_50_76_4_6_4_6_t_26, L29_0, [(0,0,50,15)])
R(c_wga_x_50_76_4_6_4_6_t_26, L31_0, [(0,0,50,15)])
R(c_wga_x_50_76_4_6_4_6_t_26, L33_0, [(0,0,50,15)])
R(c_wga_x_50_76_4_6_4_6_t_26, L34_0, [(0,0,50,15)])
R(c_wga_x_50_76_4_6_4_6_t_26, L43_0, [(0,0,50,15)])
R(c_wga_x_50_76_4_6_4_6_t_26, L94_0, [(0,0,50,15)])
R(c_wga_x_50_76_4_6_4_6_t_26, L108_0, [(0,0,50,15)])
R(c_wga_x_50_76_4_6_4_6_t_26, L112_0, [(0,0,50,15)])

wga_x_50_76_4_6_4_6_t_30 = lib.new_cell('WGA_X_50_76_4_6_4_6_T_30_T')
R(wga_x_50_76_4_6_4_6_t_30, L5_0, [(0,15,50,91)])
R(wga_x_50_76_4_6_4_6_t_30, L27_0, [(0,15,50,91)])
R(wga_x_50_76_4_6_4_6_t_30, L29_0, [(0,15,50,91)])
A(wga_x_50_76_4_6_4_6_t_30, L30_0, 6.7, 26.7, 4.6, 4.6, 1, 7, 0, 8)
A(wga_x_50_76_4_6_4_6_t_30, L30_0, 19.7, 26.7, 4.6, 4.6, 1, 7, 0, 8)
A(wga_x_50_76_4_6_4_6_t_30, L30_0, 38.7, 26.7, 4.6, 4.6, 1, 7, 0, 8)
R(wga_x_50_76_4_6_4_6_t_30, L31_0, [(0,15,50,91)])
R(wga_x_50_76_4_6_4_6_t_30, L33_0, [(0,15,50,91)])
R(wga_x_50_76_4_6_4_6_t_30, L34_0, [(0,15,50,141)])
R(wga_x_50_76_4_6_4_6_t_30, L43_0, [(0,15,50,91)])
R(wga_x_50_76_4_6_4_6_t_30, L94_0, [(0,15,50,141)])
R(wga_x_50_76_4_6_4_6_t_30, L108_0, [(0,15,50,141)])
R(wga_x_50_76_4_6_4_6_t_30, L112_0, [(0,15,50,141)])

c_wga_x_50_76_4_6_4_6_t_30 = lib.new_cell('WGA_X_50_76_4_6_4_6_T_30_name')
R(c_wga_x_50_76_4_6_4_6_t_30, L5_0, [(0,0,50,15)])
R(c_wga_x_50_76_4_6_4_6_t_30, L27_0, [(0,0,50,15)])
R(c_wga_x_50_76_4_6_4_6_t_30, L29_0, [(0,0,50,15)])
P(c_wga_x_50_76_4_6_4_6_t_30, L30_0, [(17.5,5.5),(17.5,12.5),(14.5,12.5),(14.5,6.5),(10.5,6.5),(10.5,12.5),(7.5,12.5),(7.5,5.5),(11.5,2.5),(13.5,2.5)],
  [(42.5,5),(35.5,5),(35.5,6.3),(42.5,6.3),(42.5,12.5),(32.5,12.5),(32.5,10),(39.5,10),(39.5,8.8),(32.5,8.8),(32.5,2.5),(42.5,2.5)])
R(c_wga_x_50_76_4_6_4_6_t_30, L31_0, [(0,0,50,15)])
R(c_wga_x_50_76_4_6_4_6_t_30, L33_0, [(0,0,50,15)])
R(c_wga_x_50_76_4_6_4_6_t_30, L34_0, [(0,0,50,15)])
R(c_wga_x_50_76_4_6_4_6_t_30, L43_0, [(0,0,50,15)])
R(c_wga_x_50_76_4_6_4_6_t_30, L94_0, [(0,0,50,15)])
R(c_wga_x_50_76_4_6_4_6_t_30, L108_0, [(0,0,50,15)])
R(c_wga_x_50_76_4_6_4_6_t_30, L112_0, [(0,0,50,15)])

wga_x_50_76_4_6_4_6_t_42 = lib.new_cell('WGA_X_50_76_4_6_4_6_T_42_T')
R(wga_x_50_76_4_6_4_6_t_42, L5_0, [(0,15,50,91)])
R(wga_x_50_76_4_6_4_6_t_42, L27_0, [(0,15,50,91)])
R(wga_x_50_76_4_6_4_6_t_42, L29_0, [(0,15,50,91)])
R(wga_x_50_76_4_6_4_6_t_42, L31_0, [(0,15,50,91)])
R(wga_x_50_76_4_6_4_6_t_42, L33_0, [(0,15,50,91)])
R(wga_x_50_76_4_6_4_6_t_42, L34_0, [(0,15,50,141)])
A(wga_x_50_76_4_6_4_6_t_42, L42_0, 6.7, 26.7, 4.6, 4.6, 1, 7, 0, 8)
A(wga_x_50_76_4_6_4_6_t_42, L42_0, 19.7, 26.7, 4.6, 4.6, 1, 7, 0, 8)
A(wga_x_50_76_4_6_4_6_t_42, L42_0, 38.7, 26.7, 4.6, 4.6, 1, 7, 0, 8)
R(wga_x_50_76_4_6_4_6_t_42, L43_0, [(0,15,50,91)])
R(wga_x_50_76_4_6_4_6_t_42, L94_0, [(0,15,50,141)])
R(wga_x_50_76_4_6_4_6_t_42, L108_0, [(0,15,50,141)])
R(wga_x_50_76_4_6_4_6_t_42, L112_0, [(0,15,50,141)])

c_wga_x_50_76_4_6_4_6_t_42 = lib.new_cell('WGA_X_50_76_4_6_4_6_T_42_name')
R(c_wga_x_50_76_4_6_4_6_t_42, L5_0, [(0,0,50,15)])
R(c_wga_x_50_76_4_6_4_6_t_42, L27_0, [(0,0,50,15)])
R(c_wga_x_50_76_4_6_4_6_t_42, L29_0, [(0,0,50,15)])
R(c_wga_x_50_76_4_6_4_6_t_42, L31_0, [(0,0,50,15)])
R(c_wga_x_50_76_4_6_4_6_t_42, L33_0, [(0,0,50,15)])
R(c_wga_x_50_76_4_6_4_6_t_42, L34_0, [(0,0,50,15)])
P(c_wga_x_50_76_4_6_4_6_t_42, L42_0, [(17.5,5.5),(17.5,12.5),(14.5,12.5),(14.5,6.5),(10.5,6.5),(10.5,12.5),(7.5,12.5),(7.5,5.5),(11.5,2.5),(13.5,2.5)],
  [(42.5,12.5),(39.5,12.5),(39.5,8.5),(35.5,8.5),(35.5,12.5),(32.5,12.5),(32.5,5.5),(39.5,5.5),(39.5,2.5),(42.5,2.5)])
R(c_wga_x_50_76_4_6_4_6_t_42, L43_0, [(0,0,50,15)])
R(c_wga_x_50_76_4_6_4_6_t_42, L94_0, [(0,0,50,15)])
R(c_wga_x_50_76_4_6_4_6_t_42, L108_0, [(0,0,50,15)])
R(c_wga_x_50_76_4_6_4_6_t_42, L112_0, [(0,0,50,15)])

wga_x_50_76_4_0_4_0_t_3_ = lib.new_cell('WGA_X_50_76_4_0_4_0_T_3_T')
A(wga_x_50_76_4_0_4_0_t_3_, L3_0, 7, 27, 4, 4, 1, 7, 0, 8)
A(wga_x_50_76_4_0_4_0_t_3_, L3_0, 20, 27, 4, 4, 1, 7, 0, 8)
A(wga_x_50_76_4_0_4_0_t_3_, L3_0, 39, 27, 4, 4, 1, 7, 0, 8)
R(wga_x_50_76_4_0_4_0_t_3_, L5_0, [(0,15,50,91)])
R(wga_x_50_76_4_0_4_0_t_3_, L27_0, [(0,15,50,91)])
R(wga_x_50_76_4_0_4_0_t_3_, L29_0, [(0,15,50,91)])
R(wga_x_50_76_4_0_4_0_t_3_, L31_0, [(0,15,50,91)])
R(wga_x_50_76_4_0_4_0_t_3_, L33_0, [(0,15,50,91)])
R(wga_x_50_76_4_0_4_0_t_3_, L34_0, [(0,15,50,141)])
R(wga_x_50_76_4_0_4_0_t_3_, L43_0, [(0,15,50,91)])
R(wga_x_50_76_4_0_4_0_t_3_, L94_0, [(0,15,50,141)])
R(wga_x_50_76_4_0_4_0_t_3_, L108_0, [(0,15,50,141)])
R(wga_x_50_76_4_0_4_0_t_3_, L112_0, [(0,15,50,141)])

c_wga_x_50_76_4_0_4_0_t_3_ = lib.new_cell('WGA_X_50_76_4_0_4_0_T_3_name')
P(c_wga_x_50_76_4_0_4_0_t_3_, L3_0, [(15.5,2.5),(17.5,4.5),(17.5,10.5),(15.5,12.5),(7.5,12.5),(7.5,5),(10,5),(10,10),(14,10),(15,9),(15,6),(14,5),(7.5,5),(7.5,2.5)],
  [(35,8.5),(40,2.5),(42.5,2.5),(42.5,12.5),(40,12.5),(40,6.5),(35,12.5),(32.5,12.5),(32.5,2.5),(35,2.5)])
R(c_wga_x_50_76_4_0_4_0_t_3_, L5_0, [(0,0,50,15)])
R(c_wga_x_50_76_4_0_4_0_t_3_, L27_0, [(0,0,50,15)])
R(c_wga_x_50_76_4_0_4_0_t_3_, L29_0, [(0,0,50,15)])
R(c_wga_x_50_76_4_0_4_0_t_3_, L31_0, [(0,0,50,15)])
R(c_wga_x_50_76_4_0_4_0_t_3_, L33_0, [(0,0,50,15)])
R(c_wga_x_50_76_4_0_4_0_t_3_, L34_0, [(0,0,50,15)])
R(c_wga_x_50_76_4_0_4_0_t_3_, L43_0, [(0,0,50,15)])
R(c_wga_x_50_76_4_0_4_0_t_3_, L94_0, [(0,0,50,15)])
R(c_wga_x_50_76_4_0_4_0_t_3_, L108_0, [(0,0,50,15)])
R(c_wga_x_50_76_4_0_4_0_t_3_, L112_0, [(0,0,50,15)])

wga_x_50_76_4_6_4_6_t_28 = lib.new_cell('WGA_X_50_76_4_6_4_6_T_28_T')
R(wga_x_50_76_4_6_4_6_t_28, L5_0, [(0,15,50,91)])
R(wga_x_50_76_4_6_4_6_t_28, L27_0, [(0,15,50,91)])
A(wga_x_50_76_4_6_4_6_t_28, L28_0, 6.7, 26.7, 4.6, 4.6, 1, 7, 0, 8)
A(wga_x_50_76_4_6_4_6_t_28, L28_0, 19.7, 26.7, 4.6, 4.6, 1, 7, 0, 8)
A(wga_x_50_76_4_6_4_6_t_28, L28_0, 38.7, 26.7, 4.6, 4.6, 1, 7, 0, 8)
R(wga_x_50_76_4_6_4_6_t_28, L29_0, [(0,15,50,91)])
R(wga_x_50_76_4_6_4_6_t_28, L31_0, [(0,15,50,91)])
R(wga_x_50_76_4_6_4_6_t_28, L33_0, [(0,15,50,91)])
R(wga_x_50_76_4_6_4_6_t_28, L34_0, [(0,15,50,141)])
R(wga_x_50_76_4_6_4_6_t_28, L43_0, [(0,15,50,91)])
R(wga_x_50_76_4_6_4_6_t_28, L94_0, [(0,15,50,141)])
R(wga_x_50_76_4_6_4_6_t_28, L108_0, [(0,15,50,141)])
R(wga_x_50_76_4_6_4_6_t_28, L112_0, [(0,15,50,141)])

c_wga_x_50_76_4_6_4_6_t_28 = lib.new_cell('WGA_X_50_76_4_6_4_6_T_28_name')
R(c_wga_x_50_76_4_6_4_6_t_28, L5_0, [(0,0,50,15)])
R(c_wga_x_50_76_4_6_4_6_t_28, L27_0, [(0,0,50,15)])
P(c_wga_x_50_76_4_6_4_6_t_28, L28_0, [(17.5,5.5),(17.5,12.5),(14.5,12.5),(14.5,6.5),(10.5,6.5),(10.5,12.5),(7.5,12.5),(7.5,5.5),(11.5,2.5),(13.5,2.5)],
  [(41.5,5),(39.5,5),(39.5,12.5),(36.5,12.5),(36.5,11.5),(34.5,11.5),(34.5,9.5),(36.5,9.5),(36.5,5),(33.5,5),(33.5,2.5),(41.5,2.5)])
R(c_wga_x_50_76_4_6_4_6_t_28, L29_0, [(0,0,50,15)])
R(c_wga_x_50_76_4_6_4_6_t_28, L31_0, [(0,0,50,15)])
R(c_wga_x_50_76_4_6_4_6_t_28, L33_0, [(0,0,50,15)])
R(c_wga_x_50_76_4_6_4_6_t_28, L34_0, [(0,0,50,15)])
R(c_wga_x_50_76_4_6_4_6_t_28, L43_0, [(0,0,50,15)])
R(c_wga_x_50_76_4_6_4_6_t_28, L94_0, [(0,0,50,15)])
R(c_wga_x_50_76_4_6_4_6_t_28, L108_0, [(0,0,50,15)])
R(c_wga_x_50_76_4_6_4_6_t_28, L112_0, [(0,0,50,15)])

wga_x_50_76_4_6_4_6_t_32 = lib.new_cell('WGA_X_50_76_4_6_4_6_T_32_T')
R(wga_x_50_76_4_6_4_6_t_32, L5_0, [(0,15,50,91)])
R(wga_x_50_76_4_6_4_6_t_32, L27_0, [(0,15,50,91)])
R(wga_x_50_76_4_6_4_6_t_32, L29_0, [(0,15,50,91)])
R(wga_x_50_76_4_6_4_6_t_32, L31_0, [(0,15,50,91)])
A(wga_x_50_76_4_6_4_6_t_32, L32_0, 6.7, 26.7, 4.6, 4.6, 1, 7, 0, 8)
A(wga_x_50_76_4_6_4_6_t_32, L32_0, 19.7, 26.7, 4.6, 4.6, 1, 7, 0, 8)
A(wga_x_50_76_4_6_4_6_t_32, L32_0, 38.7, 26.7, 4.6, 4.6, 1, 7, 0, 8)
R(wga_x_50_76_4_6_4_6_t_32, L33_0, [(0,15,50,91)])
R(wga_x_50_76_4_6_4_6_t_32, L34_0, [(0,15,50,141)])
R(wga_x_50_76_4_6_4_6_t_32, L43_0, [(0,15,50,91)])
R(wga_x_50_76_4_6_4_6_t_32, L94_0, [(0,15,50,141)])
R(wga_x_50_76_4_6_4_6_t_32, L108_0, [(0,15,50,141)])
R(wga_x_50_76_4_6_4_6_t_32, L112_0, [(0,15,50,141)])

c_wga_x_50_76_4_6_4_6_t_32 = lib.new_cell('WGA_X_50_76_4_6_4_6_T_32_name')
R(c_wga_x_50_76_4_6_4_6_t_32, L5_0, [(0,0,50,15)])
R(c_wga_x_50_76_4_6_4_6_t_32, L27_0, [(0,0,50,15)])
R(c_wga_x_50_76_4_6_4_6_t_32, L29_0, [(0,0,50,15)])
R(c_wga_x_50_76_4_6_4_6_t_32, L31_0, [(0,0,50,15)])
P(c_wga_x_50_76_4_6_4_6_t_32, L32_0, [(17.5,5.5),(17.5,12.5),(14.5,12.5),(14.5,6.5),(10.5,6.5),(10.5,12.5),(7.5,12.5),(7.5,5.5),(11.5,2.5),(13.5,2.5)],
  [(42.5,12.5),(32.5,12.5),(32.5,10),(39.5,10),(39.5,8.8),(32.5,8.8),(32.5,6.3),(39.5,6.3),(39.5,5),(32.5,5),(32.5,2.5),(42.5,2.5)])
R(c_wga_x_50_76_4_6_4_6_t_32, L33_0, [(0,0,50,15)])
R(c_wga_x_50_76_4_6_4_6_t_32, L34_0, [(0,0,50,15)])
R(c_wga_x_50_76_4_6_4_6_t_32, L43_0, [(0,0,50,15)])
R(c_wga_x_50_76_4_6_4_6_t_32, L94_0, [(0,0,50,15)])
R(c_wga_x_50_76_4_6_4_6_t_32, L108_0, [(0,0,50,15)])
R(c_wga_x_50_76_4_6_4_6_t_32, L112_0, [(0,0,50,15)])

c_709ahe35ba_wgax_50_20240 = lib.new_cell('709AHE35BA_WGAX_50_20240708')
c_709ahe35ba_wgax_50_20240.add(gdstk.Reference(wga_x_50_76_4_0_4_0_t_1_, (0,0)))
c_709ahe35ba_wgax_50_20240.add(gdstk.Reference(c_wga_x_50_76_4_0_4_0_t_1_, (0,0)))
c_709ahe35ba_wgax_50_20240.add(gdstk.Reference(wga_x_50_76_4_6_4_6_t_62, (0,0)))
c_709ahe35ba_wgax_50_20240.add(gdstk.Reference(c_wga_x_50_76_4_6_4_6_t_62, (0,0)))
c_709ahe35ba_wgax_50_20240.add(gdstk.Reference(wga_x_50_76_4_6_4_6_t_64, (0,0)))
c_709ahe35ba_wgax_50_20240.add(gdstk.Reference(c_wga_x_50_76_4_6_4_6_t_64, (0,0)))
c_709ahe35ba_wgax_50_20240.add(gdstk.Reference(wga_x_50_76_4_0_4_0_t_91, (0,141)))
c_709ahe35ba_wgax_50_20240.add(gdstk.Reference(c_wga_x_50_76_4_0_4_0_t_91, (0,141)))
c_709ahe35ba_wgax_50_20240.add(gdstk.Reference(wga_x_50_76_4_0_4_0_m_27, (0,141)))
c_709ahe35ba_wgax_50_20240.add(gdstk.Reference(c_wga_x_50_76_4_0_4_0_m_27, (0,141)))
c_709ahe35ba_wgax_50_20240.add(gdstk.Reference(wga_x_50_76_4_0_4_0_m_33, (0,141)))
c_709ahe35ba_wgax_50_20240.add(gdstk.Reference(c_wga_x_50_76_4_0_4_0_m_33, (0,141)))
c_709ahe35ba_wgax_50_20240.add(gdstk.Reference(wga_x_50_76_4_0_4_0_t_2_, (0,282)))
c_709ahe35ba_wgax_50_20240.add(gdstk.Reference(c_wga_x_50_76_4_0_4_0_t_2_, (0,282)))
c_709ahe35ba_wgax_50_20240.add(gdstk.Reference(wga_x_50_76_4_0_4_0_m_29, (0,282)))
c_709ahe35ba_wgax_50_20240.add(gdstk.Reference(c_wga_x_50_76_4_0_4_0_m_29, (0,282)))
c_709ahe35ba_wgax_50_20240.add(gdstk.Reference(wga_x_50_76_4_6_4_6_t_63, (0,282)))
c_709ahe35ba_wgax_50_20240.add(gdstk.Reference(c_wga_x_50_76_4_6_4_6_t_63, (0,282)))
c_709ahe35ba_wgax_50_20240.add(gdstk.Reference(wga_x_50_76_4_0_4_0_m_43, (0,282)))
c_709ahe35ba_wgax_50_20240.add(gdstk.Reference(c_wga_x_50_76_4_0_4_0_m_43, (0,282)))
c_709ahe35ba_wgax_50_20240.add(gdstk.Reference(wga_x_50_76_4_0_4_0_m_5_, (0,423)))
c_709ahe35ba_wgax_50_20240.add(gdstk.Reference(c_wga_x_50_76_4_0_4_0_m_5_, (0,423)))
c_709ahe35ba_wgax_50_20240.add(gdstk.Reference(wga_x_50_76_4_0_4_0_m_31, (0,423)))
c_709ahe35ba_wgax_50_20240.add(gdstk.Reference(c_wga_x_50_76_4_0_4_0_m_31, (0,423)))
c_709ahe35ba_wgax_50_20240.add(gdstk.Reference(wga_x_50_76_4_6_4_6_t_26, (0,564)))
c_709ahe35ba_wgax_50_20240.add(gdstk.Reference(c_wga_x_50_76_4_6_4_6_t_26, (0,564)))
c_709ahe35ba_wgax_50_20240.add(gdstk.Reference(wga_x_50_76_4_6_4_6_t_30, (0,564)))
c_709ahe35ba_wgax_50_20240.add(gdstk.Reference(c_wga_x_50_76_4_6_4_6_t_30, (0,564)))
c_709ahe35ba_wgax_50_20240.add(gdstk.Reference(wga_x_50_76_4_6_4_6_t_42, (0,564)))
c_709ahe35ba_wgax_50_20240.add(gdstk.Reference(c_wga_x_50_76_4_6_4_6_t_42, (0,564)))
c_709ahe35ba_wgax_50_20240.add(gdstk.Reference(wga_x_50_76_4_0_4_0_t_3_, (0,705)))
c_709ahe35ba_wgax_50_20240.add(gdstk.Reference(c_wga_x_50_76_4_0_4_0_t_3_, (0,705)))
c_709ahe35ba_wgax_50_20240.add(gdstk.Reference(wga_x_50_76_4_6_4_6_t_28, (0,705)))
c_709ahe35ba_wgax_50_20240.add(gdstk.Reference(c_wga_x_50_76_4_6_4_6_t_28, (0,705)))
c_709ahe35ba_wgax_50_20240.add(gdstk.Reference(wga_x_50_76_4_6_4_6_t_32, (0,705)))
c_709ahe35ba_wgax_50_20240.add(gdstk.Reference(c_wga_x_50_76_4_6_4_6_t_32, (0,705)))

lib.write_gds('709AHE35BA_WGAX_50_20240708.gds')
